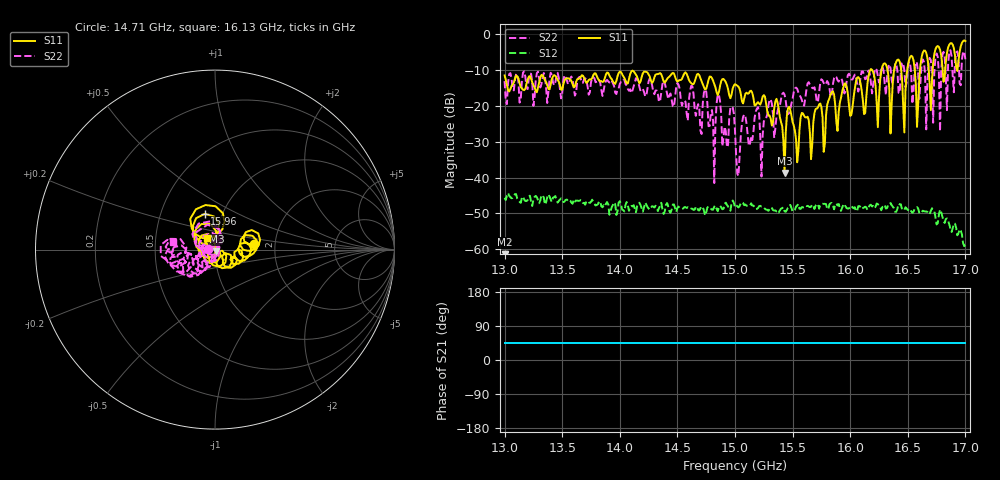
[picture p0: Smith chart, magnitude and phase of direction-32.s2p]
!Keysight Technologies,P9374A,MY57211810,A.19.30.04
!Date: Friday, May 02, 2025 08:59:54
!Correction: S11(Off)
!S21(Off)
!S12(Off)
!S22(Off)
!S2P File: Measurements: S11, S21, S12, S22:
# Hz S  dB  R 50
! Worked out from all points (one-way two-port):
!   401 points, 13 GHz to 17 GHz, reference 50 ohm
!   highest |S21| = - dB at 13 GHz (marker M1); lowest = - dB at 13 GHz (marker M2)
!   lowest |S11| = -38.7 dB at 15.43 GHz (marker M3), VSWR 1.02, Z = 50.7 - j0.9 ohm
!   |S11| at or under -10 dB: start of sweep to 16.17 GHz; 16.19181 GHz to 16.27166 GHz (79.86 MHz wide, 0.492 % of centre); 16.32396 GHz to 16.38118 GHz (57.23 MHz wide, 0.35 % of centre) (the widest 3 of 8)
!   |S22| runs from -41.5 to -4.4 dB; largest |S21 - S12| = 0.0061
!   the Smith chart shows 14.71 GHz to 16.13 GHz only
!   S11 on the Smith chart (normalised r, x): 14.71 GHz: 1.55, +0.10; 15.96 GHz: 0.83, +0.34; 16.13 GHz: 0.90, +0.12
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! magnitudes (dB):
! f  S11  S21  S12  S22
! 13 GHz  -11.4  -  -45.6  -13.0
! 13.67 GHz  -11.4  -  -46.3  -13.5
! 14.34 GHz  -11.0  -  -48.5  -18.8
! 14.71 GHz  -13.1  -  -48.7  -27.8
! 15 GHz  -13.9  -  -48.3  -26.8
! 15.03 GHz  -14.6  -  -48.3  -39.5
! 15.08 GHz  -17.9  -  -47.7  -22.4
! 15.24 GHz  -17.4  -  -48.1  -28.3
! 15.43 GHz  -38.7  -  -49.4  -16.8
! 15.47 GHz  -20.2  -  -48.2  -22.0
! 15.67 GHz  -30.9  -  -47.5  -15.0
! 15.96 GHz  -13.7  -  -48.1  -15.5
! 16.13 GHz  -22.0  -  -48.1  -12.5
! 16.3 GHz  -8.1  -  -47.6  -14.0
! 16.34 GHz  -15.4  -  -47.6  -8.3
! 16.41 GHz  -7.1  -  -48.7  -10.2
! 16.54 GHz  -6.2  -  -49.9  -19.4
! 16.58 GHz  -25.8  -  -48.2  -8.1
! 16.64 GHz  -4.5  -  -49.4  -7.6
! 16.7 GHz  -21.2  -  -49.3  -7.2
! 16.75 GHz  -3.4  -  -53.1  -5.3
! 17 GHz  -1.8  -  -58.5  -6.9
